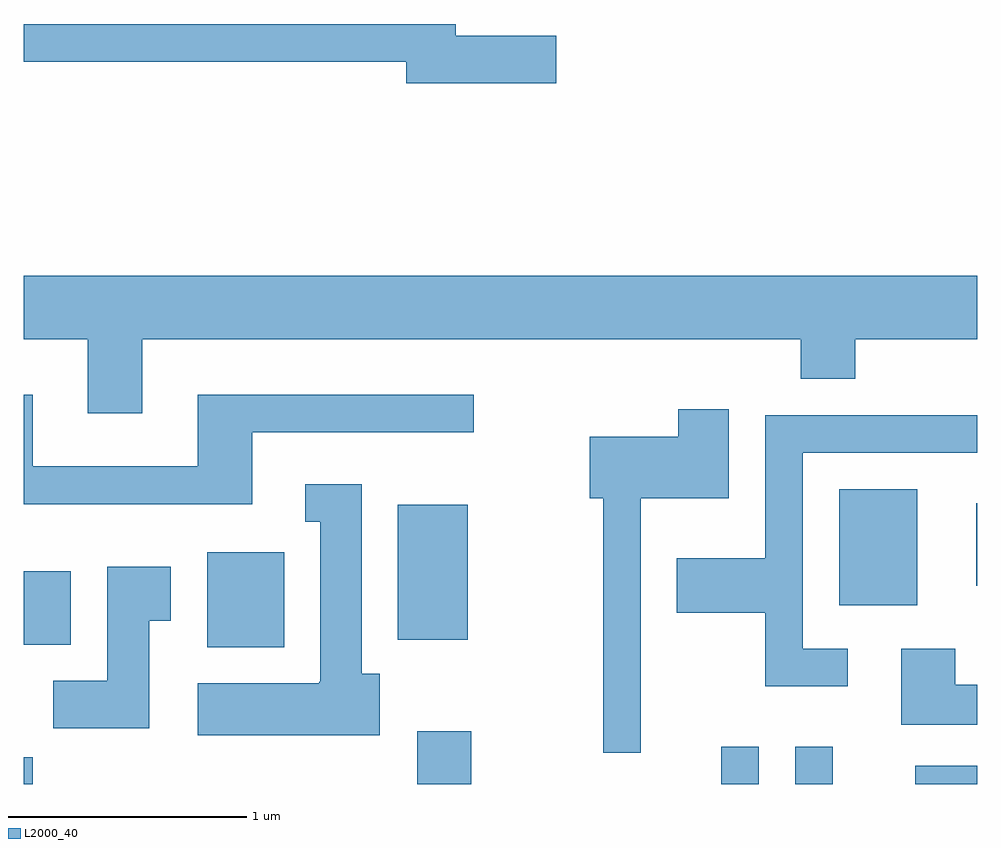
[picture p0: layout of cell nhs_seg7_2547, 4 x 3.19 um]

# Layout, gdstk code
import gdstk
lib = gdstk.Library(unit=1e-6, precision=1e-09)
def R(c, l, rs):  # rectangles x0, y0, x1, y1
    for r in rs: c.add(gdstk.rectangle(r[:2], r[2:], *l))
def P(c, l, *ps):  # polygons
    for p in ps: c.add(gdstk.Polygon(p, *l))
L2000_40 = (2000, 40)

nhs_seg7_2547 = lib.new_cell('nhs_seg7_2547')
R(nhs_seg7_2547, L2000_40, [(263.611,1690.252,263.649,1690.364), (265.261,1690.252,265.489,1690.474), (266.536,1690.252,266.694,1690.408), (266.846,1690.252,267.004,1690.408), (267.351,1690.252,267.611,1690.329), (264.381,1690.826,264.704,1691.224), (263.611,1690.836,263.809,1691.144), (265.181,1690.856,265.474,1691.424), (267.031,1691.001,267.359,1691.489), (267.606,1691.083,267.611,1691.429)])
P(nhs_seg7_2547, L2000_40, [(265.844,1693.389),(265.424,1693.389),(265.424,1693.439),(263.611,1693.439),(263.611,1693.281),(265.216,1693.281),(265.216,1693.191),(265.844,1693.191)],
  [(264.109,1692.116),(266.871,1692.116),(266.871,1691.951),(267.099,1691.951),(267.099,1692.116),(267.611,1692.116),(267.611,1692.384),(263.611,1692.384),(263.611,1692.116),(263.881,1692.116),(263.881,1691.806),(264.109,1691.806)],
  [(264.569,1691.726),(265.498,1691.726),(265.498,1691.884),(264.341,1691.884),(264.341,1691.584),(263.649,1691.584),(263.649,1691.884),(263.611,1691.884),(263.611,1691.426),(264.569,1691.426)],
  [(266.199,1691.451),(266.569,1691.451),(266.569,1691.824),(266.356,1691.824),(266.356,1691.709),(265.986,1691.709),(265.986,1691.451),(266.041,1691.451),(266.041,1690.383),(266.199,1690.383)],
  [(267.068,1690.819),(266.879,1690.819),(266.879,1691.641),(267.611,1691.641),(267.611,1691.799),(266.721,1691.799),(266.721,1691.199),(266.351,1691.199),(266.351,1690.971),(266.721,1690.971),(266.721,1690.661),(267.068,1690.661)],
  [(265.104,1690.714),(265.029,1690.714),(265.029,1691.509),(264.793,1691.509),(264.793,1691.351),(264.856,1691.351),(264.856,1690.68),(264.85,1690.68),(264.85,1690.674),(264.341,1690.674),(264.341,1690.456),(265.104,1690.456)],
  [(264.139,1690.936),(264.229,1690.936),(264.229,1691.164),(263.961,1691.164),(263.961,1690.684),(263.736,1690.684),(263.736,1690.486),(264.139,1690.486)],
  [(267.611,1690.669),(267.519,1690.669),(267.519,1690.819),(267.291,1690.819),(267.291,1690.501),(267.611,1690.501)])

lib.write_gds('nhs_seg7_2547.gds')
